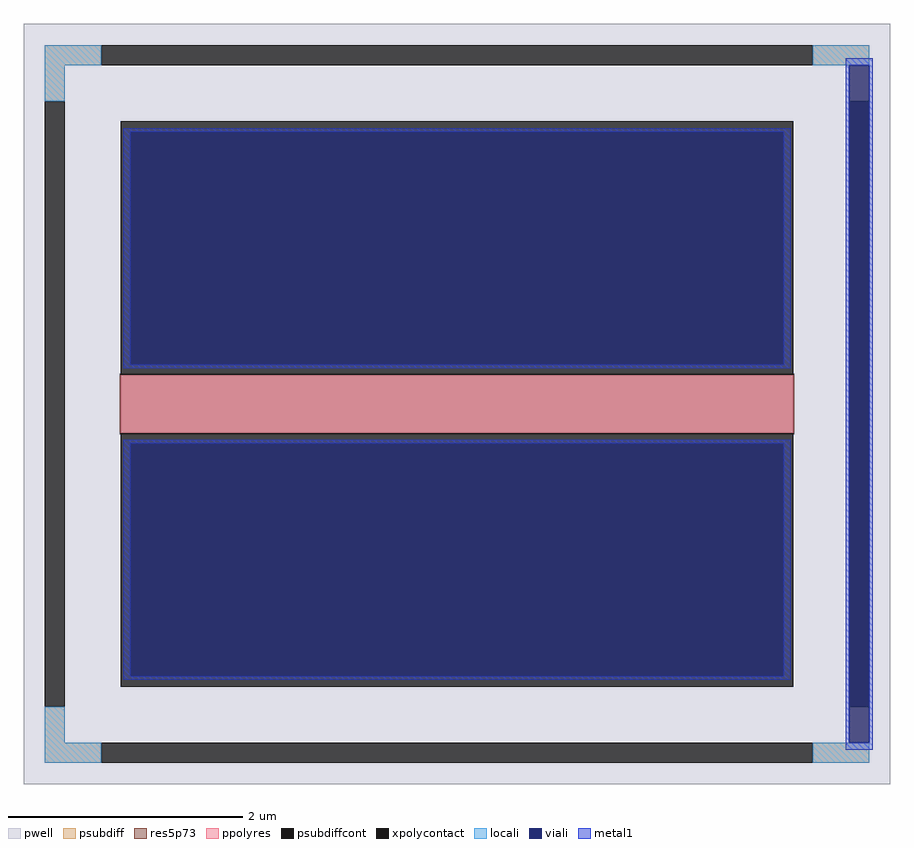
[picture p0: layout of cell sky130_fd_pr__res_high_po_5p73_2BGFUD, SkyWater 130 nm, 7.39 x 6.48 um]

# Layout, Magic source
magic
tech sky130A
magscale 1 2
<< pwell >>
rect -739 -648 739 648
<< psubdiff >>
rect -703 578 -607 612
rect 607 578 703 612
rect -703 516 -669 578
rect 669 516 703 578
rect -703 -578 -669 -516
rect 669 -578 703 -516
rect -703 -612 -607 -578
rect 607 -612 703 -578
<< psubdiffcont >>
rect -607 578 607 612
rect -703 -516 -669 516
rect 669 -516 703 516
rect -607 -612 607 -578
<< xpolycontact >>
rect -573 50 573 482
rect -573 -482 573 -50
<< ppolyres >>
rect -573 -50 573 50
<< locali >>
rect -703 578 -607 612
rect 607 578 703 612
rect -703 516 -669 578
rect -703 -578 -669 -516
rect -703 -612 -607 -578
rect 607 -612 703 -578
<< viali >>
rect 669 516 703 578
rect -557 67 557 464
rect -557 -464 557 -67
rect 669 -516 703 516
rect 669 -578 703 -516
<< metal1 >>
rect 663 578 709 590
rect -569 464 569 470
rect -569 67 -557 464
rect 557 67 569 464
rect -569 61 569 67
rect -569 -67 569 -61
rect -569 -464 -557 -67
rect 557 -464 569 -67
rect -569 -470 569 -464
rect 663 -578 669 578
rect 703 -578 709 578
rect 663 -590 709 -578
<< res5p73 >>
rect -575 -52 575 52
<< properties >>
string gencell sky130_fd_pr__res_high_po_5p73
string FIXED_BBOX -686 -595 686 595
string parameters w 5.730 l 0.5 m 1 nx 1 wmin 5.730 lmin 0.50 rho 319.8 val 34.603 dummy 0 dw 0.0 term 19.188 sterm 0.0 caplen 0 guard 1 glc 1 grc 1 gtc 1 gbc 1 compatible {sky130_fd_pr__res_high_po_0p35  sky130_fd_pr__res_high_po_0p69 sky130_fd_pr__res_high_po_1p41  sky130_fd_pr__res_high_po_2p85 sky130_fd_pr__res_high_po_5p73} full_metal 1 wmax 5.730 n_guard 0 hv_guard 0 vias 1 viagb 0 viagt 0 viagl 0 viagr 100
string library sky130
<< end >>
